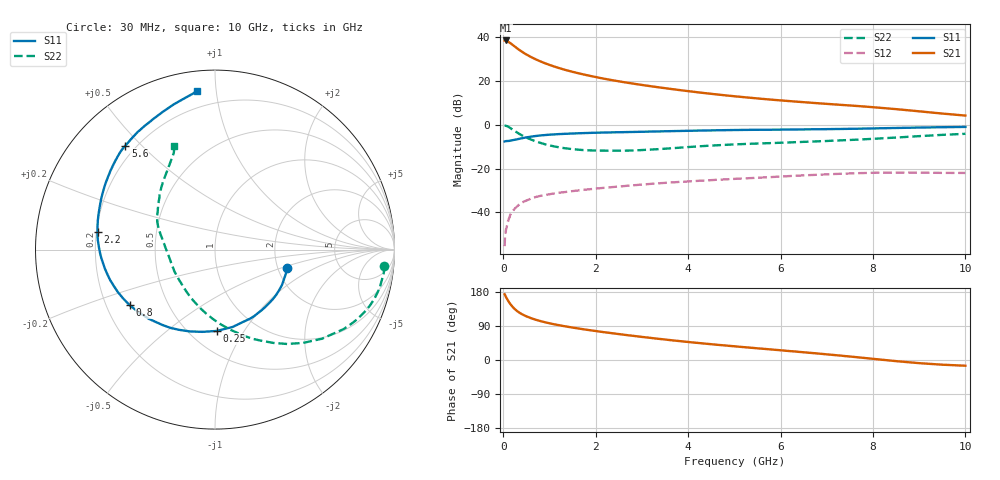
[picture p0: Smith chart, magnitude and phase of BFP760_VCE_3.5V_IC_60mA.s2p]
! Infineon Technologies  Discrete & RF Semiconductors
! BFP760
! VCE =  3.5 V,  IC =  60 mA
! Common Emitter S-Parameters:  Nov 2012
# GHz  S  MA  R  50
!  f  S11  S21  S12  S22
! GHz  MAG  ANG  MAG  ANG  MAG  ANG  MAG  ANG
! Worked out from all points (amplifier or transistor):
!   99 points, 30 MHz to 10 GHz, reference 50 ohm
!   highest |S21| = 38.4 dB at 50 MHz (marker M1)
!   |S21| within 3 dB of that: start of sweep to 264.5 MHz
!   unconditionally stable (mu >= 1): 3.507 GHz to end of sweep
!   at 350 MHz: K = 0.41, MSG = 35.2 dB, |S12| = -36.3 dB
!   at 3.5 GHz: K = 1.00, MSG = 21.6 dB, |S12| = -26.5 dB
!   at 10 GHz: K = 1.04, MAG = 11.9 dB, |S12| = -22.0 dB
!   S11 on the Smith chart (normalised r, x): 30 MHz: 2.24, -0.57; 250 MHz: 0.67, -0.76; 800 MHz: 0.30, -0.27; 2.2 GHz: 0.20, +0.07; 5.6 GHz: 0.16, +0.45; 10 GHz: 0.11, +0.89
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0.03  0.4145 -14.6  82.76 173.6  0.0017 75.8  0.948 -5.4
0.04  0.4171 -18.7  82.65 171.4  0.0029 86.9  0.9492 -7.8
0.05  0.4183 -23.3  83.09 168.4  0.0031 80.5  0.9451 -10.2
0.07  0.4228 -32.2  81.96 163.8  0.0043 83.0  0.9361 -15.0
0.1  0.4242 -44.9  78.68 157.5  0.0063 78.5  0.9067 -22.0
0.15  0.4314 -62.7  72.71 148.2  0.0088 68.7  0.8424 -31.7
0.2  0.4422 -77.3  66.3 140.6  0.0105 65.4  0.7758 -39.8
0.25  0.4534 -88.9  60.44 134.4  0.0122 61.6  0.7144 -46.7
0.3  0.4637 -98.8  55.06 129.2  0.0137 58.6  0.6619 -52.6
0.35  0.477 -107.1  50.33 124.9  0.0153 57.4  0.6147 -57.8
0.45  0.502 -119.7  42.89 118.1  0.0177 53.1  0.5404 -67.0
0.6  0.5336 -133.7  34.9 110.5  0.0206 49.5  0.4583 -78.5
0.8  0.5673 -146.9  27.82 102.9  0.0238 45.5  0.3858 -91.9
1.1  0.6 -160.6  21.2 94.3  0.0271 42.7  0.3197 -109.1
1.7  0.6405 -178.2  14.25 81.8  0.0323 41.1  0.2649 -135.6
2.2  0.6618 171.5  11.07 73.1  0.0365 40.7  0.2562 -152.7
3.4  0.7032 152.3  7.016 55.4  0.0464 38.8  0.2788 176.5
5.1  0.7571 134.2  4.342 35.1  0.0588 34.4  0.3584 153.9
5.6  0.7648 130.7  3.877 29.9  0.0624 33.1  0.374 149.2
6.7  0.785 123.0  3.14 18.3  0.0714 28.7  0.413 139.4
8.5  0.841 105.9  2.26 -3.0  0.0811 16.9  0.5085 122.0
10  0.8887 96.5  1.611 -15.1  0.0793 11.4  0.6192 111.4
